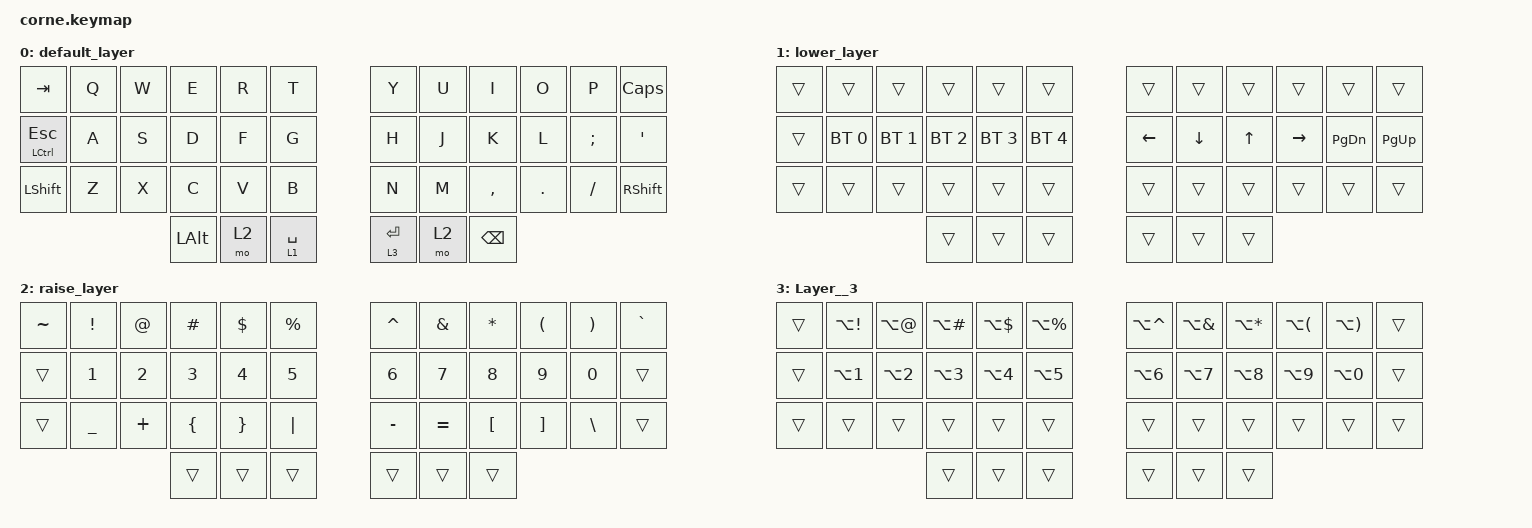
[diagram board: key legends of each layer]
/*
 * Copyright (c) 2020 The ZMK Contributors
 *
 * SPDX-License-Identifier: MIT
 */

#include <behaviors.dtsi>
#include <dt-bindings/zmk/keys.h>
#include <dt-bindings/zmk/bt.h>

/ {
    keymap {
        compatible = "zmk,keymap";

        default_layer {
            // -----------------------------------------------------------------------------------------
            // |  TAB |  Q  |  W  |  E  |  R  |  T  |   |  Y  |  U   |  I  |  O  |  P  | BKSP |
            // | CTRL |  A  |  S  |  D  |  F  |  G  |   |  H  |  J   |  K  |  L  |  ;  |  '   |
            // | SHFT |  Z  |  X  |  C  |  V  |  B  |   |  N  |  M   |  ,  |  .  |  /  | ESC  |
            //                    | GUI | LWR | SPC |   | ENT | RSE  | ALT |

            bindings = <
       &kp TAB   &kp Q   &kp W     &kp E   &kp R        &kp T        &kp Y   &kp U          &kp I    &kp O     &kp P    &kp CAPS
 &mt LCTRL ESC   &kp A   &kp S     &kp D   &kp F        &kp G        &kp H   &kp J          &kp K    &kp L  &kp SEMI     &kp SQT
     &kp LSHFT   &kp Z   &kp X     &kp C   &kp V        &kp B        &kp N   &kp M      &kp COMMA  &kp DOT  &kp FSLH  &kp RSHIFT
                                &kp LALT   &mo 2  &lt 1 SPACE  &lt 3 ENTER   &mo 2  &kp BACKSPACE
            >;
        };

        lower_layer {
            // -----------------------------------------------------------------------------------------
            // |  TAB |  1  |  2  |  3  |  4  |  5  |   |  6  |  7  |  8  |  9  |  0  | BKSP |
            // | BTCLR| BT1 | BT2 | BT3 | BT4 | BT5 |   | LFT | DWN |  UP | RGT |     |      |
            // | SHFT |     |     |     |     |     |   |     |     |     |     |     |      |
            //                    | GUI |     | SPC |   | ENT |     | ALT |

            bindings = <
 &trans        &trans        &trans        &trans        &trans        &trans    &trans    &trans  &trans     &trans         &trans       &trans
 &trans  &bt BT_SEL 0  &bt BT_SEL 1  &bt BT_SEL 2  &bt BT_SEL 3  &bt BT_SEL 4  &kp LEFT  &kp DOWN  &kp UP  &kp RIGHT  &kp PAGE_DOWN  &kp PAGE_UP
 &trans        &trans        &trans        &trans        &trans        &trans    &trans    &trans  &trans     &trans         &trans       &trans
                                           &trans        &trans        &trans    &trans    &trans  &trans
            >;
        };

        raise_layer {
            // -----------------------------------------------------------------------------------------
            // |  TAB |  !  |  @  |  #  |  $  |  %  |   |  ^  |  &  |  *  |  (  |  )  | BKSP |
            // | CTRL |     |     |     |     |     |   |  -  |  =  |  [  |  ]  |  \  |  `   |
            // | SHFT |     |     |     |     |     |   |  _  |  +  |  {  |  }  | "|" |  ~   |
            //                    | GUI |     | SPC |   | ENT |     | ALT |

            bindings = <
 &kp TILDE      &kp EXCL        &kp AT        &kp HASH      &kp DLLR     &kp PRCNT     &kp CARET      &kp AMPS      &kp STAR      &kp LPAR      &kp RPAR  &kp GRAVE
    &trans  &kp NUMBER_1  &kp NUMBER_2    &kp NUMBER_3  &kp NUMBER_4  &kp NUMBER_5  &kp NUMBER_6  &kp NUMBER_7  &kp NUMBER_8  &kp NUMBER_9  &kp NUMBER_0     &trans
    &trans     &kp UNDER      &kp PLUS  &kp LEFT_BRACE      &kp RBRC      &kp PIPE     &kp MINUS     &kp EQUAL      &kp LBKT      &kp RBKT      &kp BSLH     &trans
                                                &trans        &trans        &trans        &trans        &trans        &trans
            >;
        };

        Layer__3 {
            bindings = <
 &trans  &kp LA(EXCL)        &kp LA(AT)      &kp LA(HASH)      &kp LA(DLLR)     &kp LA(PRCNT)     &kp LA(CARET)      &kp LA(AMPS)      &kp LA(STAR)      &kp LA(LPAR)      &kp LA(RPAR)  &trans
 &trans    &kp LA(N1)  &kp LA(NUMBER_2)  &kp LA(NUMBER_3)  &kp LA(NUMBER_4)  &kp LA(NUMBER_5)  &kp LA(NUMBER_6)  &kp LA(NUMBER_7)  &kp LA(NUMBER_8)  &kp LA(NUMBER_9)  &kp LA(NUMBER_0)  &trans
 &trans        &trans            &trans            &trans            &trans            &trans            &trans            &trans            &trans            &trans            &trans  &trans
                                                   &trans            &trans            &trans            &trans            &trans            &trans
            >;
        };
    };
};
